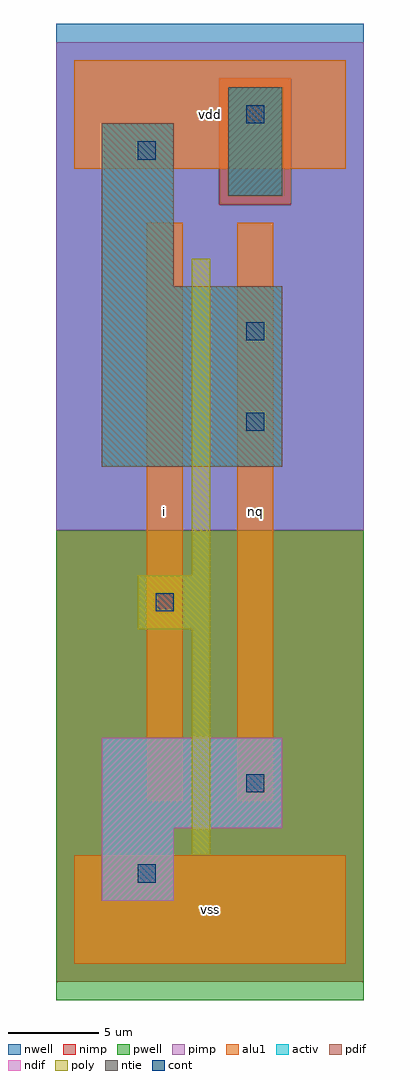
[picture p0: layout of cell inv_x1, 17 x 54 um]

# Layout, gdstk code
import gdstk
lib = gdstk.Library(unit=1e-6, precision=1e-09)
def R(c, l, rs):  # rectangles x0, y0, x1, y1
    for r in rs: c.add(gdstk.rectangle(r[:2], r[2:], *l))
ndif = (3, 0)
pdif = (4, 0)
ntie = (5, 0)
cont = (25, 0)
pwell = (41, 0)
nwell = (42, 0)
activ = (43, 0)
pimp = (44, 0)
nimp = (45, 0)
poly = (46, 0)
alu1 = (49, 0)

inv_x1 = lib.new_cell('inv_x1')
R(inv_x1, ndif, [(1.5,3.5,5.5,7.5), (1.5,7.5,11.5,12.5)])
R(inv_x1, pdif, [(1.5,27.5,11.5,37.5), (1.5,37.5,5.5,46.5)])
R(inv_x1, ntie, [(8.5,42.5,11.5,48.5)])
R(inv_x1, cont, [(3.5,4.5,4.5,5.5), (9.5,9.5,10.5,10.5), (4.5,19.5,5.5,20.5), (9.5,29.5,10.5,30.5), (9.5,34.5,10.5,35.5), (3.5,44.5,4.5,45.5), (9.5,46.5,10.5,47.5)])
R(inv_x1, pwell, [(-1,-2,16,24)])
R(inv_x1, nwell, [(-1,24,16,52)])
R(inv_x1, activ, [(1.5,3.5,5.5,7.5), (1.5,7.5,11.5,12.5), (1.5,27.5,11.5,37.5), (1.5,37.5,5.5,46.5), (8.5,42.5,11.5,48.5)])
R(inv_x1, pimp, [(-1,24,16,42), (-1,42,8,49), (12,42,16,49), (-1,49,16,51)])
R(inv_x1, nimp, [(-1,-1,16,24), (8,42,12,49)])
R(inv_x1, poly, [(6.5,6,7.5,18.5), (3.5,18.5,7.5,21.5), (6.5,21.5,7.5,39)])
R(inv_x1, alu1, [(0,0,15,6), (4,9,6,41), (9,9,11,41), (0,44,15,50)])
inv_x1.add(gdstk.Label('vss', (7.5,3), layer=49, texttype=0))
inv_x1.add(gdstk.Label('i', (5,25), layer=49, texttype=0))
inv_x1.add(gdstk.Label('vdd', (7.5,47), layer=49, texttype=0))
inv_x1.add(gdstk.Label('nq', (10,25), layer=49, texttype=0))

lib.write_gds('inv_x1.gds')
